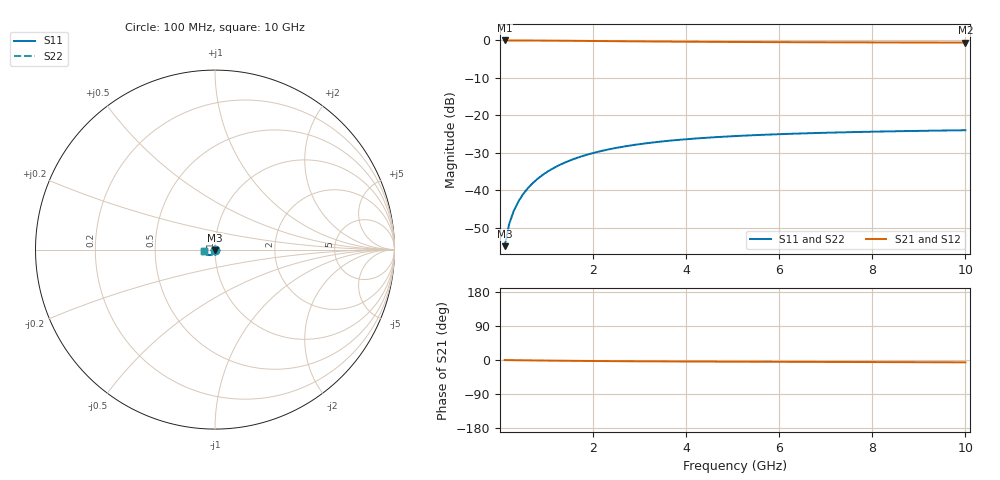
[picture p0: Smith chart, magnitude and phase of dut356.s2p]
! Touchstone file exported from HFSS 2024.1.0
!  File:  C:/UserFiles/LocalFiles/RDL_TSV_Batchsim/temp_TSV1_356_1779620579.aedt
!  Generated:  07:09:25 PM May 24, 2026
!  Design:  TSV1
!  Project:  temp_TSV1_356_1779620579
!  Setup:  Setup1
!  Solution:  Sweep
! Variables:
!  dtsv = 12.05um
!  hbump = 3um
!  htsv = 97.62um
!  lrdl = 252.1521522um
!  p = 40
!  p1 = 50.23um
!  t = 500um
!  trdl = 3um
!  wrdl = 24.89489489um
# GHz S MA R 50.000000
! Terminal data exported
! Port[1] = TSV22_T1
! Port[2] = TSV22_T2
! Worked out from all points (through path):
!   100 points, 100 MHz to 10 GHz, reference 50 ohm
!   highest |S21| = 0.00 dB at 100 MHz (marker M1); lowest = -0.6 dB at 10 GHz (marker M2)
!   lowest |S11| = -54.9 dB at 100 MHz (marker M3), VSWR 1.00, Z = 50 - j0.18 ohm
!   |S11| at or under -10 dB: start of sweep to end of sweep
!   |S22| runs from -54.9 to -24.0 dB; largest |S21 - S12| = 4.1e-15
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0.1  0.0018 -88.1  0.9998 -0.2  0.9998 -0.2  0.0018 -88.1
! Gamma 0 0 0 0
! Port Impedance 50 0 50 0
0.2  0.003594 -91.5  0.9996 -0.3  0.9996 -0.3  0.003594 -91.5
0.3  0.005387 -93.8  0.9994 -0.5  0.9994 -0.5  0.005387 -93.8
0.4  0.007172 -95.7  0.999 -0.6  0.999 -0.6  0.007172 -95.7
0.5  0.008943 -97.6  0.9985 -0.8  0.9985 -0.8  0.008943 -97.6
0.6  0.01069 -99.5  0.9979 -0.9  0.9979 -0.9  0.01069 -99.5
0.7  0.01242 -101.3  0.9972 -1.1  0.9972 -1.1  0.01242 -101.3
0.8  0.01412 -103.0  0.9965 -1.2  0.9965 -1.2  0.01412 -103.0
0.9  0.01578 -104.7  0.9957 -1.4  0.9957 -1.4  0.01578 -104.7
1.1  0.01901 -108.0  0.9938 -1.6  0.9938 -1.6  0.01901 -108.0
1.4  0.02354 -112.8  0.9907 -2.0  0.9907 -2.0  0.02354 -112.8
1.6  0.02635 -115.8  0.9884 -2.2  0.9884 -2.2  0.02635 -115.8
1.8  0.02899 -118.6  0.986 -2.5  0.986 -2.5  0.02899 -118.6
2.1  0.03261 -122.7  0.9824 -2.7  0.9824 -2.7  0.03261 -122.7
2.5  0.03686 -127.6  0.9777 -3.1  0.9777 -3.1  0.03686 -127.6
2.9  0.04051 -132.0  0.9731 -3.4  0.9731 -3.4  0.04051 -132.0
3.4  0.04434 -137.0  0.9679 -3.7  0.9679 -3.7  0.04434 -137.0
4.2  0.04915 -143.7  0.9608 -4.0  0.9608 -4.0  0.04915 -143.7
5.1  0.05315 -149.9  0.9543 -4.4  0.9543 -4.4  0.05315 -149.9
6.7  0.05798 -158.6  0.9461 -5.0  0.9461 -5.0  0.05798 -158.6
8.4  0.06127 -165.7  0.9403 -5.6  0.9403 -5.6  0.06127 -165.7
10  0.06342 -171.2  0.9366 -6.2  0.9366 -6.2  0.06342 -171.2
